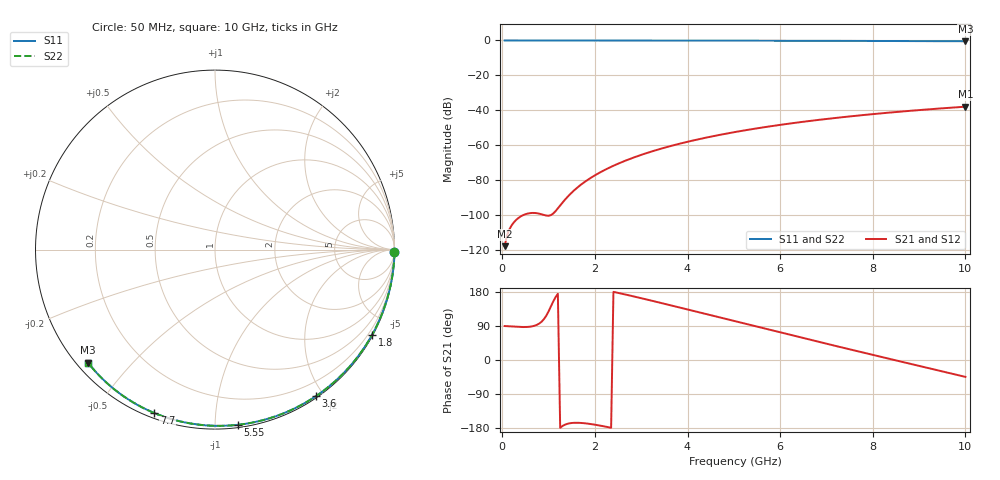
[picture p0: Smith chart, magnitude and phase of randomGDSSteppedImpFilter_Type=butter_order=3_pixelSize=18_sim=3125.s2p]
! freq	dB(S11)	phase(S11)	dB(S12)	phase(S12)
!  dB(S21)	phase(S21)	dB(S22)	phase(S22)
!S-par simulation data
#  GHz  S  DB  R 50
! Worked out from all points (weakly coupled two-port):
!   200 points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, 50 MHz to 10 GHz, reference 50 ohm
!   highest |S21| = -37.89 dB at 10 GHz (marker M1); lowest = -117.7 dB at 50 MHz (marker M2)
!   lowest |S11| = -0.5 dB at 10 GHz (marker M3), VSWR 36.91, Z = 1.55 - j19 ohm
!   |S11| at or under -10 dB: nowhere
!   |S22| runs from -0.5 to 0.0 dB; largest |S21 - S12| = 0
!   S11 on the Smith chart (normalised r, x): 50 MHz: open; 1.8 GHz: 0.03, -3.96; 3.6 GHz: 0.02, -1.90; 5.55 GHz: 0.02, -1.14; 7.7 GHz: 0.02, -0.70; 10 GHz: 0.03, -0.38
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0.05  -0.00 -0.8  -117.67 89.7  -117.67 89.7  -0.00 -0.8
0.45  -0.01 -7.2  -99.93 87.0  -99.93 87.0  -0.01 -7.2
0.9  -0.02 -14.3  -99.85 108.0  -99.85 108.0  -0.02 -14.3
1.75  -0.04 -27.6  -81.48 -166.6  -81.48 -166.6  -0.04 -27.6
1.8  -0.04 -28.4  -80.53 -167.2  -80.53 -167.2  -0.04 -28.4
1.85  -0.04 -29.1  -79.64 -168.0  -79.64 -168.0  -0.04 -29.2
2.05  -0.04 -32.2  -76.38 -171.7  -76.38 -171.7  -0.04 -32.3
2.25  -0.05 -35.3  -73.56 -176.4  -73.56 -176.4  -0.05 -35.3
2.55  -0.05 -39.8  -69.94 175.8  -69.94 175.8  -0.05 -39.9
2.95  -0.06 -45.8  -65.90 164.6  -65.90 164.6  -0.06 -45.9
3.4  -0.07 -52.5  -62.12 151.4  -62.12 151.4  -0.07 -52.5
3.6  -0.07 -55.4  -60.64 145.4  -60.64 145.4  -0.07 -55.5
3.9  -0.08 -59.7  -58.59 136.4  -58.59 136.4  -0.08 -59.8
4.3  -0.09 -65.4  -56.16 124.3  -56.16 124.3  -0.09 -65.5
5.05  -0.12 -75.9  -52.27 101.5  -52.27 101.5  -0.12 -76.0
5.55  -0.14 -82.6  -50.06 86.4  -50.06 86.4  -0.14 -82.7
6.1  -0.16 -89.9  -47.91 69.8  -47.91 69.8  -0.16 -90.0
6.7  -0.19 -97.7  -45.85 51.9  -45.85 51.9  -0.19 -97.8
7.7  -0.25 -110.3  -42.92 22.3  -42.92 22.3  -0.25 -110.4
8.35  -0.30 -118.3  -41.28 3.3  -41.28 3.3  -0.30 -118.4
9.2  -0.38 -128.6  -39.41 -21.3  -39.41 -21.3  -0.38 -128.8
10  -0.47 -138.3  -37.89 -44.5  -37.89 -44.5  -0.47 -138.4
